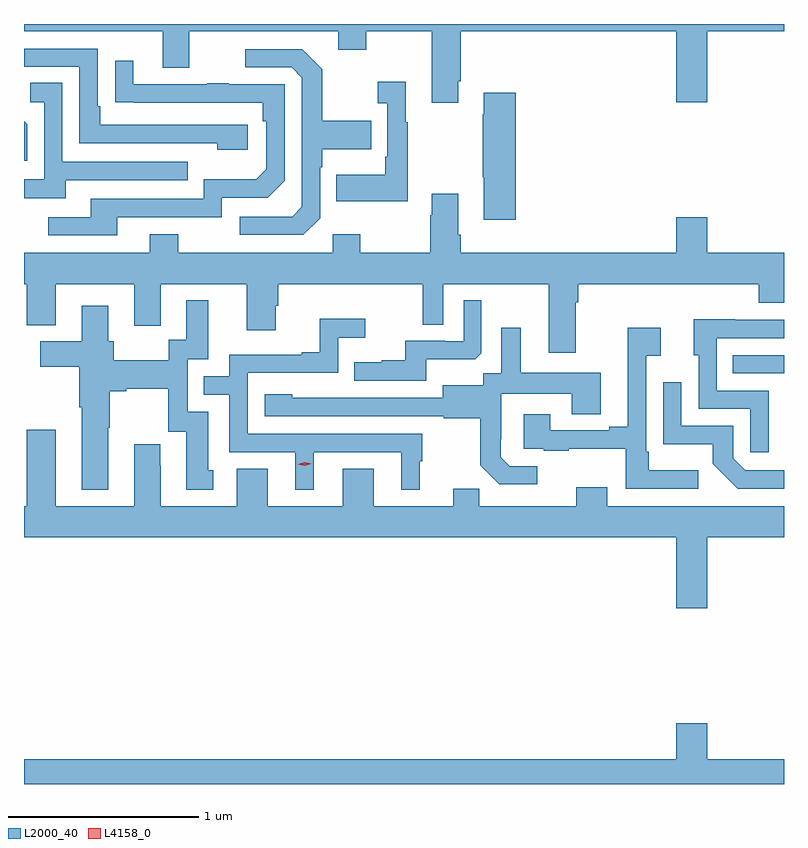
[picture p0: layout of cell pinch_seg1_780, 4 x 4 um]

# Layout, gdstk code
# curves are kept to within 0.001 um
import gdstk
lib = gdstk.Library(unit=1e-6, precision=1e-09)
def R(c, l, rs):  # rectangles x0, y0, x1, y1
    for r in rs: c.add(gdstk.rectangle(r[:2], r[2:], *l))
def P(c, l, *ps):  # polygons
    for p in ps: c.add(gdstk.Polygon(p, *l))
L2000_40 = (2000, 40)
L4158_0 = (4158, 0)

pinch_seg1_780 = lib.new_cell('pinch_seg1_780')
R(pinch_seg1_780, L2000_40, [(608.863,568.578,609.132,568.674)])
P(pinch_seg1_780, L2000_40, [(607.417,570.115),(607.43,570.115),(607.43,570.38),(608.564,570.38),(608.564,570.006),(608.728,570.006),(608.728,570.38),(609.132,570.38),(609.132,570.417),(605.132,570.417),(605.132,570.38),(605.861,570.38),(605.861,570.186),(606.001,570.186),(606.001,570.38),(606.785,570.38),(606.785,570.281),(606.933,570.281),(606.933,570.38),(607.277,570.38),(607.277,570.003),(607.417,570.003)],
  [(606.31,569.886),(605.533,569.886),(605.533,569.983),(605.52,569.983),(605.52,570.288),(605.132,570.288),(605.132,570.192),(605.424,570.192),(605.424,569.79),(606.149,569.79),(606.149,569.756),(606.31,569.756)],
  [(606.69,569.394),(606.69,569.663),(606.703,569.663),(606.703,569.759),(606.959,569.759),(606.959,569.907),(606.703,569.907),(606.703,570.179),(606.597,570.285),(606.297,570.285),(606.297,570.189),(606.54,570.189),(606.594,570.135),(606.594,569.454),(606.543,569.403),(606.267,569.403),(606.267,569.307),(606.603,569.307)],
  [(605.623,569.4),(606.174,569.4),(606.174,569.502),(606.414,569.502),(606.504,569.592),(606.504,570.099),(606.209,570.099),(606.209,570.104),(606.097,570.104),(606.097,570.099),(605.707,570.099),(605.707,570.223),(605.611,570.223),(605.611,570.004),(606.388,570.003),(606.388,569.906),(606.408,569.906),(606.408,569.652),(606.355,569.599),(606.078,569.599),(606.078,569.496),(605.483,569.496),(605.483,569.4),(605.259,569.4),(605.259,569.304),(605.623,569.304)],
  [(607.153,569.899),(607.141,569.899),(607.141,570.112),(606.993,570.112),(606.993,569.999),(607.044,569.999),(607.044,569.719),(607.032,569.719),(607.032,569.623),(606.775,569.623),(606.775,569.483),(607.153,569.483)],
  [(605.353,569.595),(605.993,569.595),(605.993,569.691),(605.334,569.691),(605.334,570.107),(605.166,570.107),(605.166,570.006),(605.238,570.006),(605.238,569.601),(605.132,569.601),(605.132,569.501),(605.353,569.501)],
  [(607.721,570.055),(607.553,570.055),(607.553,569.942),(607.546,569.942),(607.546,569.611),(607.553,569.611),(607.553,569.388),(607.721,569.388)],
  [(605.148,569.89),(605.132,569.906),(605.132,569.697),(605.148,569.697)],
  [(607.43,569.308),(607.417,569.308),(607.417,569.524),(607.277,569.524),(607.277,569.411),(607.27,569.411),(607.27,569.212),(606.903,569.212),(606.903,569.311),(606.756,569.311),(606.756,569.212),(605.943,569.212),(605.943,569.311),(605.795,569.311),(605.795,569.212),(605.132,569.212),(605.132,569.048),(605.147,569.048),(605.147,568.832),(605.299,568.832),(605.299,569.048),(605.711,569.048),(605.711,568.83),(605.851,568.83),(605.851,569.048),(606.305,569.048),(606.305,568.806),(606.457,568.806),(606.457,568.935),(606.47,568.935),(606.47,569.048),(607.23,569.048),(607.23,568.834),(607.338,568.834),(607.338,569.048),(607.895,569.048),(607.895,568.686),(608.035,568.686),(608.035,568.952),(608.048,568.952),(608.048,569.048),(608.999,569.048),(608.999,568.949),(609.132,568.949),(609.132,569.212),(608.728,569.212),(608.728,569.401),(608.564,569.401),(608.564,569.212),(607.43,569.212)],
  [(605.575,568.291),(605.583,568.291),(605.583,568.484),(605.671,568.484),(605.671,568.496),(605.891,568.496),(605.891,568.272),(605.987,568.272),(605.987,567.966),(606.127,567.966),(606.127,568.068),(606.103,568.068),(606.103,568.377),(605.994,568.377),(605.994,568.653),(606.103,568.653),(606.103,568.963),(605.987,568.963),(605.987,568.754),(605.893,568.754),(605.893,568.648),(605.605,568.648),(605.605,568.747),(605.575,568.747),(605.575,568.933),(605.435,568.933),(605.435,568.747),(605.217,568.747),(605.217,568.613),(605.423,568.613),(605.423,568.4),(605.435,568.4),(605.435,567.965),(605.575,567.965)],
  [(607.249,568.652),(607.507,568.652),(607.539,568.683),(607.539,568.963),(607.446,568.963),(607.446,568.746),(607.346,568.746),(607.346,568.749),(607.139,568.749),(607.139,568.648),(607.015,568.648),(607.015,568.636),(606.871,568.636),(606.871,568.539),(607.249,568.539)],
  [(606.658,568.164),(607.118,568.164),(607.118,567.965),(607.216,567.965),(607.216,568.116),(607.228,568.116),(607.228,568.26),(606.309,568.26),(606.309,568.581),(606.786,568.581),(606.786,568.766),(606.928,568.766),(606.928,568.865),(606.688,568.865),(606.688,568.69),(606.593,568.69),(606.593,568.677),(606.213,568.677),(606.213,568.563),(606.079,568.563),(606.079,568.467),(606.213,568.467),(606.213,568.164),(606.56,568.164),(606.56,567.965),(606.658,567.965)],
  [(609.051,568.488),(608.778,568.488),(608.778,568.764),(609.132,568.764),(609.132,568.86),(608.875,568.86),(608.875,568.862),(608.657,568.862),(608.657,568.674),(608.682,568.674),(608.682,568.392),(608.955,568.392),(608.955,568.164),(609.051,568.164)],
  [(607.834,568.089),(607.689,568.089),(607.642,568.136),(607.642,568.231),(607.644,568.231),(607.644,568.472),(608.015,568.472),(608.015,568.363),(608.167,568.363),(608.167,568.582),(607.747,568.582),(607.747,568.819),(607.643,568.819),(607.643,568.58),(607.548,568.58),(607.548,568.516),(607.337,568.516),(607.337,568.449),(606.543,568.45),(606.543,568.468),(606.399,568.468),(606.399,568.353),(607.341,568.353),(607.341,568.341),(607.533,568.341),(607.533,568.095),(607.633,567.995),(607.834,567.995)],
  [(608.68,568.069),(608.419,568.069),(608.419,568.165),(608.406,568.165),(608.406,568.67),(608.482,568.67),(608.482,568.819),(608.309,568.819),(608.309,568.297),(608.213,568.297),(608.213,568.278),(607.903,568.278),(607.903,568.363),(607.763,568.363),(607.763,568.182),(607.867,568.182),(607.867,568.17),(607.999,568.17),(607.999,568.181),(608.298,568.181),(608.298,567.972),(608.68,567.972)],
  [(609.132,568.068),(608.928,568.068),(608.865,568.131),(608.865,568.302),(608.592,568.302),(608.592,568.531),(608.496,568.531),(608.496,568.205),(608.758,568.205),(608.758,568.103),(608.888,567.972),(609.132,567.972)],
  [(608.728,567.716),(609.132,567.716),(609.132,567.88),(608.203,567.88),(608.203,567.979),(608.039,567.979),(608.039,567.88),(607.529,567.88),(607.529,567.971),(607.391,567.971),(607.391,567.88),(606.973,567.88),(606.973,568.075),(606.809,568.075),(606.809,567.88),(606.415,567.88),(606.415,568.075),(606.251,568.075),(606.251,567.88),(605.851,567.88),(605.851,568.091),(605.848,568.091),(605.848,568.204),(605.711,568.204),(605.711,567.88),(605.299,567.88),(605.299,568.282),(605.147,568.282),(605.147,567.88),(605.132,567.88),(605.132,567.716),(608.564,567.716),(608.564,567.342),(608.728,567.342)],
  [(609.132,566.548),(608.728,566.548),(608.728,566.737),(608.564,566.737),(608.564,566.548),(605.132,566.548),(605.132,566.417),(609.132,566.417)])
P(pinch_seg1_780, L4158_0, [(606.609,568.091),(606.573,568.1),(606.573,568.1),(606.573,568.1),(606.609,568.111),(606.644,568.103),(606.645,568.102),(606.644,568.102)])

lib.write_gds('pinch_seg1_780.gds')
